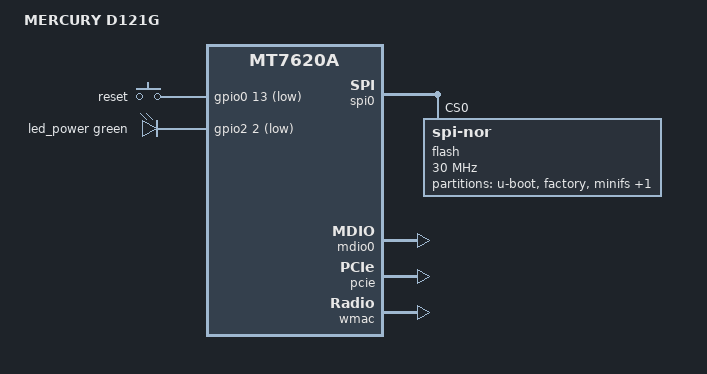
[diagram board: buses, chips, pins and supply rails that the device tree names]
// SPDX-License-Identifier: GPL-2.0-or-later OR MIT
/*
 * MERCURY D121G
 *   SoC      : MediaTek MT7620DA (integrated 64MB DDR2, no external RAM)
 *   2.4GHz   : MT7620 built-in (rt2800soc)
 *   5GHz     : MT7612EN via PCIe (mt76x2e)
 *   Switch   : Realtek RTL8367S-CG, 3x Gigabit
 *   Flash    : W25Q128 (16MB SPI-NOR)
 *   U-Boot   : stock Ralink/Realtek-SDK 1.1.3, serial console 57600 8N1
 *
 * WiFi calibration (from the ORIGINAL 2MB dump, verified byte-exact):
 *   0xF800  2.4G EEPROM, 0x200 bytes  (MT7620, MAC at +0x4 = 00:0c:43:76:20:58)
 *   0xFC00  5G   EEPROM, 0x200 bytes  (MT7612, MAC at +0x4 = 00:0c:43:47:c2:80)
 * These sit inside the first 64KB of flash, right after U-Boot, so the
 * partition layout below mirrors that reality instead of the usual
 * "factory at 0x40000" convention.
 */

#include <dt-bindings/gpio/gpio.h>
#include <dt-bindings/input/input.h>
#include <dt-bindings/leds/common.h>

#include "mt7620a.dtsi"

/ {
	compatible = "mercury,d121g", "ralink,mt7620a-soc";
	model = "MERCURY D121G";

	chosen {
		/* stock U-Boot runs 57600 on this board, not the usual 115200 */
		bootargs = "console=ttyS0,57600";
	};

	aliases {
		led-boot = &led_power;
		led-failsafe = &led_power;
		led-running = &led_power;
		led-upgrade = &led_power;
		label-mac-device = &ethernet;
	};

	keys {
		compatible = "gpio-keys";

		reset {
			label = "reset";
			gpios = <&gpio0 13 GPIO_ACTIVE_LOW>;
			linux,code = <KEY_RESTART>;
		};
	};

	leds {
		compatible = "gpio-leds";

		led_power: power {
			function = LED_FUNCTION_POWER;
			color = <LED_COLOR_ID_GREEN>;
			/* GPIO42 = bank2 line 2 */
			gpios = <&gpio2 2 GPIO_ACTIVE_LOW>;
		};
	};

	rtl8367s {
		compatible = "realtek,rtl8367b";
		/*
		 * cpu_port txdelay rxdelay mode force txpause rxpause link duplex speed
		 * cpu_port 7 -> extif1 on RTL8367S; RGMII; forced 1000M full duplex.
		 * mode 1 = RGMII, speed 2 = 1000M.
		 */
		realtek,extif = <7 1 0 1 1 1 1 1 1 2>;
		mii-bus = <&mdio0>;
		phy-id = <29>;
	};
};

&gpio1 {
	status = "okay";
};

&gpio2 {
	status = "okay";
};

&gpio3 {
	status = "okay";
};

&spi0 {
	status = "okay";

	flash@0 {
		compatible = "jedec,spi-nor";
		reg = <0>;
		spi-max-frequency = <30000000>;

		/*
		 * 必需：否则 of_translate_address() 无法给下面的 partitions
		 * 做地址翻译，内核每次都会喊
		 *   OF: Bad cell count for .../flash@0/partitions
		 * （分区照样建得出来，但告警是 DTS 缺属性，不是噪音）。
		 * 与 Archer C5 v4 的写法保持一致。
		 */
		#address-cells = <1>;
		#size-cells = <1>;

		partitions {
			compatible = "fixed-partitions";
			#address-cells = <1>;
			#size-cells = <1>;

			/*
			 * U-Boot occupies the start of flash; the stock binary ends
			 * around 0xF100, so 0xF800 is a safe split point.
			 */
			partition@0 {
				label = "u-boot";
				reg = <0x0 0xf800>;
				read-only;
			};

			/*
			 * Factory / radio calibration, located at 0xF800 in the
			 * original layout.  Mirrored here so the same DTS works both
			 * for TFTP bring-up on the stock flash and for a freshly
			 * written 16MB image.
			 */
			factory: partition@f800 {
				label = "factory";
				reg = <0xf800 0x800>;
				read-only;

				nvmem-layout {
					compatible = "fixed-layout";
					#address-cells = <1>;
					#size-cells = <1>;

					eeprom_radio_0: eeprom@0 {
						reg = <0x0 0x200>;
					};

					eeprom_radio_5g: eeprom@400 {
						reg = <0x400 0x200>;
					};

					macaddr_factory_4: macaddr@4 {
						compatible = "mac-base";
						reg = <0x4 0x6>;
						#nvmem-cell-cells = <1>;
					};
				};
			};

			/*
			 * Vendor "MINIFS" data block.  Size taken from the stock
			 * layout descriptor at 0x15000, which chains:
			 *   0xF000 +0x800 -> 0xF800
			 *   0xF800 +0x800 -> 0x10000
			 *   0x10000 +0x5000 -> 0x15000   (i.e. MINIFS is 20 KiB, not 64)
			 */
			partition@10000 {
				label = "minifs";
				reg = <0x10000 0x5000>;
				read-only;
			};

			/*
			 * Kernel + rootfs.  U-Boot reads firmware payload from
			 * flash offset 0x15200 (confirmed by U-Boot constant table
			 * at file 0x9780: 0xBC015200).  The 0x200-byte vendor header
			 * at 0x15000 declares "payload at 0x15200".
			 */
			/*
			 * Kernel + rootfs.  U-Boot always reads the raw LZMA
			 * from flash 0x15200, but the partition itself must
			 * start at a 4K-aligned offset, otherwise mtdpart
			 * forces it read-only and rootfs_data becomes
			 * unusable (0x15200 mod 4K != 0).
			 * 0x15000 is 0 mod 4K, so it stays writable.
			 * The 13 bytes at 0x15000 are replaced by a dummy
			 * LZMA header so mtdsplit_lzma accepts this
			 * partition; U-Boot never reads them (the vendor
			 * container magic appears nowhere in U-Boot).
			 */
			partition@15000 {
				compatible = "lzma";
				label = "firmware";
				reg = <0x15000 0xfeb000>;
			};
		};
	};
};

&state_default {
	gpio {
		groups = "i2c", "uartf", "ephy", "rgmii2";
		function = "gpio";
	};
};

&ethernet {
	pinctrl-names = "default";
	pinctrl-0 = <&rgmii1_pins &mdio_pins>;

	nvmem-cells = <&macaddr_factory_4 0>;
	nvmem-cell-names = "mac-address";

	port@5 {
		status = "okay";
		mediatek,fixed-link = <1000 1 1 1>;
		phy-mode = "rgmii";
	};

	mdio0: mdio-bus {
		status = "okay";
		/*
		 * The Archer C5 v4 resets the switch via gpio2 20.  The D121G
		 * GPIO map is not confirmed yet, and a wrong reset line would
		 * hold the switch in reset, so it is deliberately omitted for
		 * first bring-up: the stock U-Boot already runs
		 * rtl_init_switch()/rtk_vlan_init(), leaving the switch usable.
		 */
	};
};

&pcie {
	status = "okay";
};

&pcie0 {
	wifi: mt76@0,0 {
		reg = <0x0000 0 0 0 0>;
		ieee80211-freq-limit = <5000000 6000000>;
		nvmem-cells = <&eeprom_radio_5g>, <&macaddr_factory_4 2>;
		nvmem-cell-names = "eeprom", "mac-address";
	};
};

&wmac {
	nvmem-cells = <&eeprom_radio_0>, <&macaddr_factory_4 0>;
	nvmem-cell-names = "eeprom", "mac-address";
};
